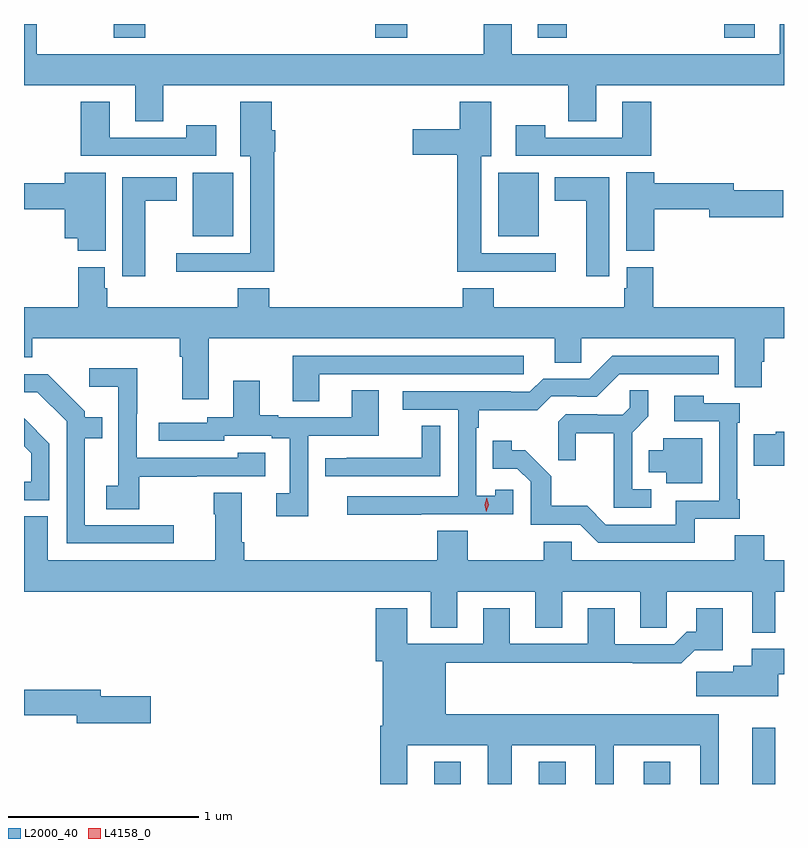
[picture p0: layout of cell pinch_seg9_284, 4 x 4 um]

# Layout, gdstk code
import gdstk
lib = gdstk.Library(unit=1e-6, precision=1e-09)
def R(c, l, rs):  # rectangles x0, y0, x1, y1
    for r in rs: c.add(gdstk.rectangle(r[:2], r[2:], *l))
def A(c, l, x, y, w, h, nx, ny, dx, dy):  # array of equal rectangles
    R(c, l, [(x+i*dx, y+j*dy, x+i*dx+w, y+j*dy+h) for i in range(nx) for j in range(ny)])
def P(c, l, *ps):  # polygons
    for p in ps: c.add(gdstk.Polygon(p, *l))
L2000_40 = (2000, 40)
L4158_0 = (4158, 0)

pinch_seg9_284 = lib.new_cell('pinch_seg9_284')
A(pinch_seg9_284, L2000_40, 448.721, 1188.747, 0.14, 0.118, 3, 1, 0.552, 0)
R(pinch_seg9_284, L2000_40, [(450.395,1188.747,450.517,1189.042), (447.452,1191.629,447.664,1191.964), (449.06,1191.629,449.272,1191.964), (447.035,1192.674,447.202,1192.747), (448.412,1192.674,448.579,1192.747), (449.267,1192.674,449.42,1192.747), (450.248,1192.674,450.408,1192.747)])
P(pinch_seg9_284, L2000_40, [(449.428,1192.234),(449.575,1192.234),(449.575,1192.424),(450.563,1192.424),(450.563,1192.747),(450.54,1192.747),(450.54,1192.588),(449.131,1192.588),(449.131,1192.747),(448.984,1192.747),(448.984,1192.588),(446.631,1192.588),(446.631,1192.747),(446.563,1192.747),(446.563,1192.424),(447.149,1192.424),(447.149,1192.234),(447.297,1192.234),(447.297,1192.424),(449.428,1192.424)],
  [(449.864,1192.339),(449.711,1192.339),(449.711,1192.149),(449.307,1192.149),(449.307,1192.213),(449.151,1192.213),(449.151,1192.053),(449.864,1192.053)],
  [(449.362,1191.54),(448.969,1191.54),(448.969,1192.052),(449.023,1192.052),(449.023,1192.339),(448.856,1192.339),(448.856,1192.192),(448.608,1192.192),(448.608,1192.058),(448.844,1192.058),(448.844,1191.443),(449.362,1191.443)],
  [(447.881,1192.074),(447.886,1192.074),(447.886,1192.188),(447.868,1192.188),(447.868,1192.339),(447.701,1192.339),(447.701,1192.052),(447.755,1192.052),(447.755,1191.54),(447.363,1191.54),(447.363,1191.443),(447.881,1191.443)],
  [(447.574,1192.213),(447.418,1192.213),(447.418,1192.149),(447.013,1192.149),(447.013,1192.339),(446.861,1192.339),(446.861,1192.053),(447.574,1192.053)],
  [(449.879,1191.772),(450.17,1191.772),(450.17,1191.73),(450.559,1191.73),(450.559,1191.872),(450.298,1191.872),(450.298,1191.908),(449.879,1191.908),(449.879,1191.968),(449.732,1191.968),(449.732,1191.553),(449.879,1191.553)],
  [(446.992,1191.964),(446.777,1191.964),(446.777,1191.908),(446.563,1191.908),(446.563,1191.772),(446.777,1191.772),(446.777,1191.62),(446.846,1191.62),(446.846,1191.553),(446.992,1191.553)],
  [(447.202,1191.818),(447.367,1191.818),(447.367,1191.94),(447.08,1191.94),(447.08,1191.42),(447.202,1191.42)],
  [(449.644,1191.94),(449.357,1191.94),(449.357,1191.818),(449.522,1191.818),(449.522,1191.42),(449.644,1191.42)],
  [(447.535,1191.092),(449.357,1191.092),(449.357,1190.965),(449.496,1190.965),(449.496,1191.092),(450.305,1191.092),(450.305,1190.836),(450.445,1190.836),(450.445,1190.97),(450.458,1190.97),(450.458,1191.092),(450.563,1191.092),(450.563,1191.256),(449.876,1191.256),(449.876,1191.468),(449.735,1191.468),(449.735,1191.357),(449.723,1191.357),(449.723,1191.256),(449.036,1191.256),(449.036,1191.355),(448.871,1191.355),(448.871,1191.256),(447.854,1191.256),(447.854,1191.355),(447.689,1191.355),(447.689,1191.256),(447.002,1191.256),(447.002,1191.357),(446.989,1191.357),(446.989,1191.468),(446.849,1191.468),(446.849,1191.256),(446.563,1191.256),(446.563,1190.993),(446.606,1190.993),(446.606,1191.092),(447.383,1191.092),(447.383,1190.996),(447.395,1190.996),(447.395,1190.772),(447.535,1190.772)],
  [(448.655,1190.166),(449.139,1190.166),(449.139,1190.295),(449.043,1190.295),(449.043,1190.263),(448.944,1190.263),(448.944,1190.621),(448.957,1190.621),(448.957,1190.714),(449.264,1190.714),(449.337,1190.787),(449.476,1190.787),(449.476,1190.784),(449.577,1190.784),(449.697,1190.904),(450.22,1190.904),(450.22,1191),(449.658,1191),(449.538,1190.88),(449.295,1190.88),(449.226,1190.811),(449.126,1190.811),(449.126,1190.814),(448.557,1190.814),(448.557,1190.718),(448.848,1190.718),(448.848,1190.262),(448.263,1190.262),(448.263,1190.164),(448.655,1190.164)],
  [(448.117,1190.904),(449.194,1190.904),(449.194,1191),(447.977,1191),(447.977,1190.761),(448.117,1190.761)],
  [(447.169,1190.365),(447.473,1190.365),(447.473,1190.367),(447.832,1190.367),(447.832,1190.491),(447.687,1190.491),(447.687,1190.463),(447.156,1190.463),(447.156,1190.696),(447.159,1190.696),(447.159,1190.935),(446.907,1190.935),(446.907,1190.837),(447.06,1190.837),(447.06,1190.316),(446.997,1190.316),(446.997,1190.194),(447.169,1190.194)],
  [(447.352,1190.109),(446.884,1190.109),(446.884,1190.568),(446.975,1190.568),(446.975,1190.677),(446.883,1190.677),(446.883,1190.709),(446.688,1190.904),(446.563,1190.904),(446.563,1190.808),(446.634,1190.808),(446.787,1190.655),(446.787,1190.013),(447.352,1190.013)],
  [(448.059,1190.58),(448.429,1190.58),(448.429,1190.819),(448.289,1190.819),(448.289,1190.676),(447.901,1190.676),(447.901,1190.689),(447.805,1190.689),(447.805,1190.869),(447.665,1190.869),(447.665,1190.676),(447.528,1190.676),(447.528,1190.649),(447.273,1190.649),(447.273,1190.553),(447.618,1190.553),(447.618,1190.58),(447.866,1190.58),(447.866,1190.568),(447.962,1190.568),(447.962,1190.277),(447.891,1190.277),(447.891,1190.157),(448.059,1190.157)],
  [(449.863,1190.298),(449.763,1190.298),(449.763,1190.597),(449.849,1190.683),(449.849,1190.819),(449.751,1190.819),(449.751,1190.728),(449.714,1190.691),(449.58,1190.691),(449.58,1190.694),(449.415,1190.694),(449.374,1190.653),(449.374,1190.451),(449.468,1190.451),(449.468,1190.594),(449.666,1190.594),(449.666,1190.202),(449.863,1190.202)],
  [(450.092,1190.142),(450.331,1190.142),(450.331,1190.245),(450.318,1190.245),(450.318,1190.648),(450.331,1190.648),(450.331,1190.751),(450.141,1190.751),(450.141,1190.791),(449.985,1190.791),(449.985,1190.655),(450.222,1190.655),(450.222,1190.238),(449.993,1190.238),(449.993,1190.112),(449.625,1190.112),(449.527,1190.211),(449.338,1190.211),(449.338,1190.366),(449.2,1190.504),(449.13,1190.504),(449.13,1190.554),(449.029,1190.554),(449.029,1190.406),(449.16,1190.406),(449.229,1190.337),(449.229,1190.112),(449.49,1190.112),(449.586,1190.016),(450.092,1190.016)],
  [(446.697,1190.539),(446.563,1190.673),(446.563,1190.525),(446.6,1190.488),(446.6,1190.338),(446.563,1190.338),(446.563,1190.241),(446.697,1190.241)],
  [(448.755,1190.633),(448.657,1190.633),(448.657,1190.463),(448.261,1190.463),(448.261,1190.462),(448.149,1190.462),(448.149,1190.367),(448.755,1190.367)],
  [(450.563,1190.6),(450.519,1190.6),(450.519,1190.587),(450.403,1190.587),(450.403,1190.422),(450.563,1190.422)],
  [(450.133,1190.566),(449.927,1190.566),(449.927,1190.503),(449.852,1190.503),(449.852,1190.387),(449.942,1190.387),(449.942,1190.33),(450.133,1190.33)],
  [(450.517,1189.76),(450.563,1189.76),(450.563,1189.924),(450.458,1189.924),(450.458,1190.057),(450.305,1190.057),(450.305,1189.924),(449.445,1189.924),(449.445,1190.022),(449.299,1190.022),(449.299,1189.924),(448.899,1189.924),(448.899,1190.081),(448.739,1190.081),(448.739,1189.924),(447.722,1189.924),(447.722,1190.02),(447.709,1190.02),(447.709,1190.281),(447.562,1190.281),(447.562,1190.168),(447.569,1190.168),(447.569,1189.924),(446.689,1189.924),(446.689,1190.156),(446.563,1190.156),(446.563,1189.76),(448.703,1189.76),(448.703,1189.57),(448.843,1189.57),(448.843,1189.76),(449.255,1189.76),(449.255,1189.57),(449.395,1189.57),(449.395,1189.76),(449.807,1189.76),(449.807,1189.57),(449.946,1189.57),(449.946,1189.76),(450.395,1189.76),(450.395,1189.544),(450.517,1189.544)],
  [(448.579,1188.95),(449.003,1188.95),(449.003,1188.747),(449.131,1188.747),(449.131,1188.95),(449.57,1188.95),(449.57,1188.747),(449.668,1188.747),(449.668,1188.95),(450.122,1188.95),(450.122,1188.747),(450.22,1188.747),(450.22,1189.114),(448.783,1189.114),(448.783,1189.384),(449.767,1189.384),(449.767,1189.382),(450.023,1189.382),(450.092,1189.451),(450.241,1189.451),(450.241,1189.672),(450.101,1189.672),(450.101,1189.549),(450.052,1189.549),(449.985,1189.482),(449.671,1189.482),(449.671,1189.672),(449.531,1189.672),(449.531,1189.485),(449.119,1189.485),(449.119,1189.672),(448.979,1189.672),(448.979,1189.485),(448.579,1189.485),(448.579,1189.672),(448.415,1189.672),(448.415,1189.392),(448.451,1189.392),(448.451,1189.054),(448.439,1189.054),(448.439,1188.747),(448.579,1188.747)],
  [(450.532,1189.325),(450.563,1189.325),(450.563,1189.459),(450.392,1189.459),(450.392,1189.369),(450.296,1189.369),(450.296,1189.337),(450.102,1189.337),(450.102,1189.208),(450.532,1189.208)],
  [(447.229,1189.208),(446.968,1189.208),(446.968,1189.244),(446.563,1189.244),(446.563,1189.108),(446.84,1189.108),(446.84,1189.066),(447.229,1189.066)])
P(pinch_seg9_284, L4158_0, [(448.997,1190.181),(448.997,1190.181),(448.988,1190.217),(448.998,1190.253),(448.998,1190.253),(448.999,1190.253),(449.008,1190.217),(448.997,1190.181)])

lib.write_gds('pinch_seg9_284.gds')
